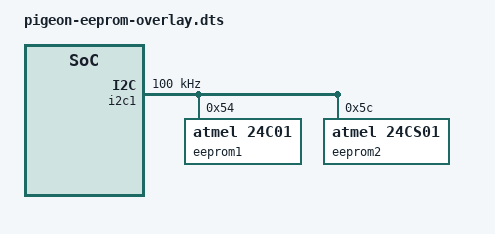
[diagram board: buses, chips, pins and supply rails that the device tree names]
/dts-v1/;
/plugin/;
/ {

fragment@0 {
	target = <&i2c1>;
		__overlay__ {
			#address-cells = <1>;
			#size-cells = <0>;
			clock-frequency = <100000>;
			status = "okay";

			eeprom1@54 {
				compatible = "atmel,24c01";
				reg = <0x54>;
				status = "okay";
			};                        

			eeprom2@5C {
                                compatible = "atmel,24cs01";
                                reg = <0x5C>;
                                status = "okay";
                        };		

		};
	};    
};
